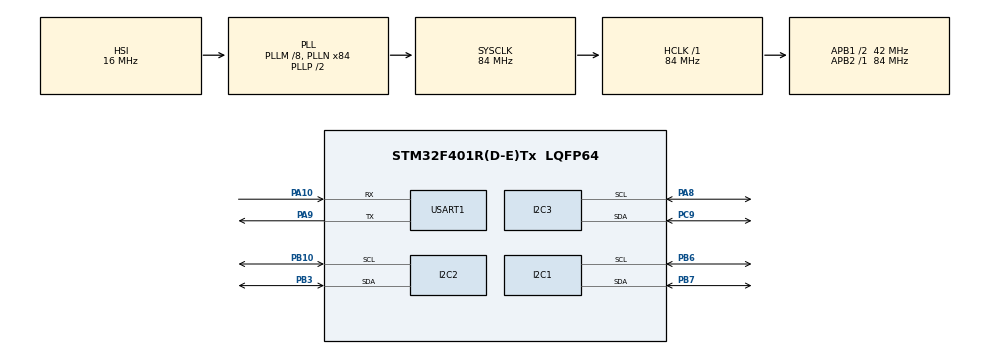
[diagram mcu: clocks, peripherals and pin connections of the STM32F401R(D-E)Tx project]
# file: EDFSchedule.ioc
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FREERTOS.Queues01=myQueue01,16,uint16_t,0,Dynamic,NULL,NULL;myQueue02,16,uint16_t,0,Dynamic,NULL,NULL;myQueue03,16,uint16_t,0,Dynamic,NULL,NULL;myQueue04,16,uint16_t,0,Dynamic,NULL,NULL
FREERTOS.Tasks01=defaultTask,29,512,StartDefaultTask,Default,NULL,Dynamic,NULL,NULL;RealTime,29,512,StartTask02,Default,NULL,Dynamic,NULL,NULL;DisplayTemp,28,512,StartTask03,Default,NULL,Dynamic,NULL,NULL;DisplayTime,27,512,StartTask04,Default,NULL,Dynamic,NULL,NULL;myTask05,26,256,StartTask05,Default,NULL,Dynamic,NULL,NULL;myTask06,25,512,StartTask06,Default,NULL,Dynamic,NULL,NULL;myTask07,8,512,StartTask07,Default,NULL,Dynamic,NULL,NULL
Mcu.Family=STM32F4
Mcu.Name=STM32F401R(D-E)Tx
Mcu.Package=LQFP64
NVIC.PriorityGroup=NVIC_PRIORITYGROUP_4
NVIC.USART1_IRQn=true\:5\:0\:false\:false\:true\:true\:true\:true\:true
PA10.Mode=Asynchronous
PA10.Signal=USART1_RX
PA13.Mode=Serial_Wire
PA13.Signal=SYS_JTMS-SWDIO
PA14.Mode=Serial_Wire
PA14.Signal=SYS_JTCK-SWCLK
PA8.Mode=I2C
PA8.Signal=I2C3_SCL
PA9.Mode=Asynchronous
PA9.Signal=USART1_TX
PB10.Mode=I2C
PB10.Signal=I2C2_SCL
PB3.Mode=I2C
PB3.Signal=I2C2_SDA
PB6.Mode=I2C
PB6.Signal=I2C1_SCL
PB7.Mode=I2C
PB7.Signal=I2C1_SDA
PC9.Mode=I2C
PC9.Signal=I2C3_SDA
PH0\ -\ OSC_IN.Mode=HSE-External-Oscillator
PH0\ -\ OSC_IN.Signal=RCC_OSC_IN
PH1\ -\ OSC_OUT.Mode=HSE-External-Oscillator
PH1\ -\ OSC_OUT.Signal=RCC_OSC_OUT
ProjectManager.HeapSize=0x200
ProjectManager.StackSize=0x400
ProjectManager.TargetToolchain=STM32CubeIDE
RCC.48MHZClocksFreq_Value=42000000
RCC.AHBFreq_Value=84000000
RCC.APB1CLKDivider=RCC_HCLK_DIV2
RCC.APB1Freq_Value=42000000
RCC.APB1TimFreq_Value=84000000
RCC.APB2Freq_Value=84000000
RCC.APB2TimFreq_Value=84000000
RCC.CortexFreq_Value=84000000
RCC.HCLKFreq_Value=84000000
RCC.HSE_VALUE=25000000
RCC.HSI_VALUE=16000000
RCC.LSE_VALUE=32768
RCC.PLLM=8
RCC.PLLN=84
RCC.SYSCLKFreq_VALUE=84000000
RCC.SYSCLKSource=RCC_SYSCLKSOURCE_PLLCLK
RCC.VCOOutputFreq_Value=168000000
USART1.VirtualMode=VM_ASYNC
VP_FREERTOS_VS_CMSIS_V2.Mode=CMSIS_V2
board=custom

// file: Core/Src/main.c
/* USER CODE BEGIN Header */
/**
  ******************************************************************************
  * @file           : main.c
  * @brief          : Main program body
  ******************************************************************************
  * @attention
  *
  * Copyright (c) 2025 STMicroelectronics.
  * All rights reserved.
  *
  * This software is licensed under terms that can be found in the LICENSE file
  * in the root directory of this software component.
  * If no LICENSE file comes with this software, it is provided AS-IS.
  *
  ******************************************************************************
  */
/* USER CODE END Header */
#include "main.h"
#include "cmsis_os.h"

/* USER CODE BEGIN Includes */
#include "stdio.h"
#include "string.h"
#include "stdlib.h"
#include "math.h"

// The libraries for sensors: DS1307, LCD, SHT21
#include "sht2x_for_stm32_hal.h"
#include "i2c-lcd.h"
#include "I2C_DS3231.h"
#include "print_cli.h"
#include "command_excute.h"
#include <stdbool.h>

/* USER CODE END Includes */

I2C_HandleTypeDef hi2c1;
I2C_HandleTypeDef hi2c2;
I2C_HandleTypeDef hi2c3;

UART_HandleTypeDef huart1;

/* Definitions for defaultTask */
osThreadId_t defaultTaskHandle;
const osThreadAttr_t defaultTask_attributes = {
  .name = "defaultTask",
  .stack_size = 512 * 4,
  .priority = (osPriority_t) osPriorityNormal5,
};
/* Definitions for RealTime */
osThreadId_t RealTimeHandle;
const osThreadAttr_t RealTime_attributes = {
  .name = "RealTime",
  .stack_size = 512 * 4,
  .priority = (osPriority_t) osPriorityNormal5,
};
/* Definitions for DisplayTemp */
osThreadId_t DisplayTempHandle;
const osThreadAttr_t DisplayTemp_attributes = {
  .name = "DisplayTemp",
  .stack_size = 512 * 4,
  .priority = (osPriority_t) osPriorityNormal4,
};
/* Definitions for DisplayTime */
osThreadId_t DisplayTimeHandle;
const osThreadAttr_t DisplayTime_attributes = {
  .name = "DisplayTime",
  .stack_size = 512 * 4,
  .priority = (osPriority_t) osPriorityNormal3,
};
/* Definitions for myTask05 */
osThreadId_t myTask05Handle;
const osThreadAttr_t myTask05_attributes = {
  .name = "myTask05",
  .stack_size = 256 * 4,
  .priority = (osPriority_t) osPriorityNormal2,
};
/* Definitions for myTask06 */
osThreadId_t myTask06Handle;
const osThreadAttr_t myTask06_attributes = {
  .name = "myTask06",
  .stack_size = 512 * 4,
  .priority = (osPriority_t) osPriorityNormal1,
};
/* Definitions for myTask07 */
osThreadId_t myTask07Handle;
const osThreadAttr_t myTask07_attributes = {
  .name = "myTask07",
  .stack_size = 512 * 4,
  .priority = (osPriority_t) osPriorityLow,
};
/* Definitions for myQueue01 */
osMessageQueueId_t myQueue01Handle;
const osMessageQueueAttr_t myQueue01_attributes = {
  .name = "myQueue01"
};
/* Definitions for myQueue02 */
osMessageQueueId_t myQueue02Handle;
const osMessageQueueAttr_t myQueue02_attributes = {
  .name = "myQueue02"
};
/* Definitions for myQueue03 */
osMessageQueueId_t myQueue03Handle;
const osMessageQueueAttr_t myQueue03_attributes = {
  .name = "myQueue03"
};
/* Definitions for myQueue04 */
osMessageQueueId_t myQueue04Handle;
const osMessageQueueAttr_t myQueue04_attributes = {
  .name = "myQueue04"
};
/* USER CODE BEGIN PV */
DateTime date_time;

// Task deadlines
TickType_t taskReadTempDeadline;
TickType_t taskReadTimeDeadline;
TickType_t taskDisplayTempDeadline;
TickType_t taskDisplayTimeDeadline;
TickType_t taskReadRhDeadline;
TickType_t taskDisplayRhDeadline;
typedef struct{
	int id;
	int period;
	int execTime;
	int deadline;
	int priotity;
	int allPeriod;
	bool changed;
} Task;

Task tasks[6] = {
        {0, 2250, 50, 100, 5, 10, 0.0, false},  // Task 1
        {1, 900, 4, 200, 11, 10, 0.0, false}, // Task 2
        {2, 3000, 4, 300, 17, 10, 0.0, false}, // Task 3
        {3, 1000, 4, 400, 23, 10, 0.0, false}, // Task 4
        {4, 1800, 50, 500, 29, 10, 0.0, false}, // Task 5
        {5, 4500, 4, 600, 35, 10, 0.0, false}  // Task 6
    };
Task prev_tasks[6] = {
        {0, 2250, 50, 100, 5, 10, 0.0, false},  // Task 1
        {1, 900, 4, 200, 11, 10, 0.0, false}, // Task 2
        {2, 3000, 4, 300, 17, 10, 0.0, false}, // Task 3
        {3, 1000, 4, 400, 23, 10, 0.0, false}, // Task 4
        {4, 1800, 50, 500, 29, 10, 0.0, false}, // Task 5
        {5, 4500, 4, 600, 35, 10, 0.0, false}  // Task 6
    };

#define MAX_STRING_SIZE 20

#define RX_BUFFER_SIZE 30
uint8_t rx_buffer[RX_BUFFER_SIZE];
char rx_byte;
uint16_t rx_index = 0;
typedef struct {
    char task[MAX_STRING_SIZE];  // Trường chứa chuỗi "task1"
    int values[5];               // Mảng chứa 5 số nguyên
} TaskData;
/* USER CODE END PV */

void SystemClock_Config(void);
static void MX_GPIO_Init(void);
static void MX_I2C1_Init(void);
static void MX_I2C2_Init(void);
static void MX_I2C3_Init(void);
static void MX_USART1_UART_Init(void);
void StartDefaultTask(void *argument);
void StartTask02(void *argument);
void StartTask03(void *argument);
void StartTask04(void *argument);
void StartTask05(void *argument);
void StartTask06(void *argument);
void StartTask07(void *argument);

/* USER CODE BEGIN PFP */
void updatePriorities(void);
void AnalyzeCommand(char *);

void parseDataFromISR(const char *Rec, int size, TaskData *taskData);
// Hàm phát hiện thay đổi
bool detectChange(Task *current, Task *previous);
void updatePrevious(Task *previous, Task *current);
/* USER CODE END PFP */

int main(void)
{

  /* MCU Configuration--------------------------------------------------------*/

  /* Reset of all peripherals, Initializes the Flash interface and the Systick. */
  HAL_Init();

  /* Configure the system clock */
  SystemClock_Config();

  /* Initialize all configured peripherals */
  MX_GPIO_Init();
  MX_I2C1_Init();
  MX_I2C2_Init();
  MX_I2C3_Init();
  MX_USART1_UART_Init();
  /* USER CODE BEGIN 2 */
  //Init SHT21, set resolution
    SHT2x_Init(&hi2c1);
    SHT2x_SetResolution(RES_14_12);
    print_cli("Inited SHT21 successfully\n");

    //Init LCD, set start time
    rtc_init(&hi2c3);
    date_time.date = 20;
    date_time.day = 20;
    date_time.hour = 10;
    date_time.i2c = 02;
    date_time.min = 41;
    date_time.mon = 1;
    date_time.sec = 12;
    date_time.year = 25;
    rtc_write_time(&date_time);

    //Init lcd
    lcd_init();
    HAL_UART_Receive_IT(&huart1, &rx_byte, 1);
  /* USER CODE END 2 */

  /* Init scheduler */
  osKernelInitialize();

  /* Create the queue(s) */
  /* creation of myQueue01 */
  myQueue01Handle = osMessageQueueNew (16, sizeof(float), &myQueue01_attributes);

  /* creation of myQueue02 */
  myQueue02Handle = osMessageQueueNew (16, sizeof(DateTime), &myQueue02_attributes);

  /* creation of myQueue03 */
  myQueue03Handle = osMessageQueueNew (16, sizeof(float), &myQueue03_attributes);

  /* creation of myQueue04 */
  myQueue04Handle = osMessageQueueNew (16, sizeof(uint8_t) * 15, &myQueue04_attributes);

  /* Create the thread(s) */
  /* creation of defaultTask */
  defaultTaskHandle = osThreadNew(StartDefaultTask, NULL, &defaultTask_attributes);

  /* creation of RealTime */
  RealTimeHandle = osThreadNew(StartTask02, NULL, &RealTime_attributes);

  /* creation of DisplayTemp */
  DisplayTempHandle = osThreadNew(StartTask03, NULL, &DisplayTemp_attributes);

  /* creation of DisplayTime */
  DisplayTimeHandle = osThreadNew(StartTask04, NULL, &DisplayTime_attributes);

  /* creation of myTask05 */
  myTask05Handle = osThreadNew(StartTask05, NULL, &myTask05_attributes);

  /* creation of myTask06 */
  myTask06Handle = osThreadNew(StartTask06, NULL, &myTask06_attributes);

  /* creation of myTask07 */
  myTask07Handle = osThreadNew(StartTask07, NULL, &myTask07_attributes);

  /* Start scheduler */
  osKernelStart();

  /* We should never get here as control is now taken by the scheduler */

  /* Infinite loop */
  while (1)
  {

  }
}

void SystemClock_Config(void)
{
  RCC_OscInitTypeDef RCC_OscInitStruct = {0};
  RCC_ClkInitTypeDef RCC_ClkInitStruct = {0};

  /** Configure the main internal regulator output voltage
  */
  __HAL_RCC_PWR_CLK_ENABLE();
  __HAL_PWR_VOLTAGESCALING_CONFIG(PWR_REGULATOR_VOLTAGE_SCALE2);

  /** Initializes the RCC Oscillators according to the specified parameters
  * in the RCC_OscInitTypeDef structure.
  */
  RCC_OscInitStruct.OscillatorType = RCC_OSCILLATORTYPE_HSI;
  RCC_OscInitStruct.HSIState = RCC_HSI_ON;
  RCC_OscInitStruct.HSICalibrationValue = RCC_HSICALIBRATION_DEFAULT;
  RCC_OscInitStruct.PLL.PLLState = RCC_PLL_ON;
  RCC_OscInitStruct.PLL.PLLSource = RCC_PLLSOURCE_HSI;
  RCC_OscInitStruct.PLL.PLLM = 8;
  RCC_OscInitStruct.PLL.PLLN = 84;
  RCC_OscInitStruct.PLL.PLLP = RCC_PLLP_DIV2;
  RCC_OscInitStruct.PLL.PLLQ = 4;
  if (HAL_RCC_OscConfig(&RCC_OscInitStruct) != HAL_OK)
  {
    Error_Handler();
  }

  /** Initializes the CPU, AHB and APB buses clocks
  */
  RCC_ClkInitStruct.ClockType = RCC_CLOCKTYPE_HCLK|RCC_CLOCKTYPE_SYSCLK
                              |RCC_CLOCKTYPE_PCLK1|RCC_CLOCKTYPE_PCLK2;
  RCC_ClkInitStruct.SYSCLKSource = RCC_SYSCLKSOURCE_PLLCLK;
  RCC_ClkInitStruct.AHBCLKDivider = RCC_SYSCLK_DIV1;
  RCC_ClkInitStruct.APB1CLKDivider = RCC_HCLK_DIV2;
  RCC_ClkInitStruct.APB2CLKDivider = RCC_HCLK_DIV1;

  if (HAL_RCC_ClockConfig(&RCC_ClkInitStruct, FLASH_LATENCY_2) != HAL_OK)
  {
    Error_Handler();
  }
}

static void MX_I2C1_Init(void)
{

  hi2c1.Instance = I2C1;
  hi2c1.Init.ClockSpeed = 100000;
  hi2c1.Init.DutyCycle = I2C_DUTYCYCLE_2;
  hi2c1.Init.OwnAddress1 = 0;
  hi2c1.Init.AddressingMode = I2C_ADDRESSINGMODE_7BIT;
  hi2c1.Init.DualAddressMode = I2C_DUALADDRESS_DISABLE;
  hi2c1.Init.OwnAddress2 = 0;
  hi2c1.Init.GeneralCallMode = I2C_GENERALCALL_DISABLE;
  hi2c1.Init.NoStretchMode = I2C_NOSTRETCH_DISABLE;
  if (HAL_I2C_Init(&hi2c1) != HAL_OK)
  {
    Error_Handler();
  }

}

static void MX_I2C2_Init(void)
{

  hi2c2.Instance = I2C2;
  hi2c2.Init.ClockSpeed = 100000;
  hi2c2.Init.DutyCycle = I2C_DUTYCYCLE_2;
  hi2c2.Init.OwnAddress1 = 0;
  hi2c2.Init.AddressingMode = I2C_ADDRESSINGMODE_7BIT;
  hi2c2.Init.DualAddressMode = I2C_DUALADDRESS_DISABLE;
  hi2c2.Init.OwnAddress2 = 0;
  hi2c2.Init.GeneralCallMode = I2C_GENERALCALL_DISABLE;
  hi2c2.Init.NoStretchMode = I2C_NOSTRETCH_DISABLE;
  if (HAL_I2C_Init(&hi2c2) != HAL_OK)
  {
    Error_Handler();
  }

}

static void MX_I2C3_Init(void)
{

  hi2c3.Instance = I2C3;
  hi2c3.Init.ClockSpeed = 100000;
  hi2c3.Init.DutyCycle = I2C_DUTYCYCLE_2;
  hi2c3.Init.OwnAddress1 = 0;
  hi2c3.Init.AddressingMode = I2C_ADDRESSINGMODE_7BIT;
  hi2c3.Init.DualAddressMode = I2C_DUALADDRESS_DISABLE;
  hi2c3.Init.OwnAddress2 = 0;
  hi2c3.Init.GeneralCallMode = I2C_GENERALCALL_DISABLE;
  hi2c3.Init.NoStretchMode = I2C_NOSTRETCH_DISABLE;
  if (HAL_I2C_Init(&hi2c3) != HAL_OK)
  {
    Error_Handler();
  }

}

static void MX_USART1_UART_Init(void)
{

  huart1.Instance = USART1;
  huart1.Init.BaudRate = 115200;
  huart1.Init.WordLength = UART_WORDLENGTH_8B;
  huart1.Init.StopBits = UART_STOPBITS_1;
  huart1.Init.Parity = UART_PARITY_NONE;
  huart1.Init.Mode = UART_MODE_TX_RX;
  huart1.Init.HwFlowCtl = UART_HWCONTROL_NONE;
  huart1.Init.OverSampling = UART_OVERSAMPLING_16;
  if (HAL_UART_Init(&huart1) != HAL_OK)
  {
    Error_Handler();
  }

}

static void MX_GPIO_Init(void)
{

  /* GPIO Ports Clock Enable */
  __HAL_RCC_GPIOH_CLK_ENABLE();
  __HAL_RCC_GPIOB_CLK_ENABLE();
  __HAL_RCC_GPIOC_CLK_ENABLE();
  __HAL_RCC_GPIOA_CLK_ENABLE();

}

/* USER CODE BEGIN 4 */
void HAL_UART_RxCpltCallback(UART_HandleTypeDef *huart) {
    if (huart->Instance == USART1) {  // Thay USART1 bằng UART của bạn
        if (rx_byte == '\n') {       // Kiểm tra ký tự LF
            rx_buffer[rx_index] = '\0'; // Kết thúc chuỗi
            rx_index = 0;            // Reset index
			osMessageQueuePut(myQueue04Handle, &rx_buffer, 0U, 0U);
        }
         else {
            if (rx_index < RX_BUFFER_SIZE - 1) {
                rx_buffer[rx_index++] = rx_byte; // Lưu byte vào buffer
            }
        }
        // Nhận tiếp byte mới
        HAL_UART_Receive_IT(&huart1, &rx_byte, 1);
    }
}
void updatePriorities(void) {
    TickType_t now = xTaskGetTickCount();

    // Calculate time remaining for each task
    TickType_t timeToDeadlineTemp = taskReadTempDeadline - now;
    TickType_t timeToDeadlineTime = taskReadTimeDeadline - now;
    TickType_t timeToDeadlineDispTemp = taskDisplayTempDeadline - now;
    TickType_t timeToDeadlineDispTime = taskDisplayTimeDeadline - now;
    TickType_t timeToDeadlineRh  = taskReadRhDeadline - now;
    TickType_t timeToDeadlineDispRh = taskDisplayRhDeadline - now;

    // Update priorities dynamically
    vTaskPrioritySet(NULL, osPriorityLow); // Default priority for the current task

    if (timeToDeadlineTemp <= timeToDeadlineTime &&
        timeToDeadlineTemp <= timeToDeadlineDispTemp &&
        timeToDeadlineTemp <= timeToDeadlineDispTime &&
		timeToDeadlineTemp <= timeToDeadlineDispRh &&
		timeToDeadlineTemp <= timeToDeadlineRh) {
        vTaskPrioritySet(defaultTaskHandle, osPriorityHigh);
        printf("Task 01 cao nhat\n");
    } else if (timeToDeadlineTime <= timeToDeadlineDispTemp &&
               timeToDeadlineTime <= timeToDeadlineDispTime &&
			   timeToDeadlineTime <= timeToDeadlineRh &&
			   timeToDeadlineTime <= timeToDeadlineDispRh) {
        vTaskPrioritySet(RealTimeHandle, osPriorityHigh);
        printf("Task 02 cao nhat\n");
    } else if (timeToDeadlineDispTemp <= timeToDeadlineDispTime &&
    		timeToDeadlineDispTemp <= timeToDeadlineDispRh &&
			timeToDeadlineDispTemp <= timeToDeadlineRh) {
        vTaskPrioritySet(DisplayTempHandle, osPriorityHigh);
        print_cli("Task 3 cao nhat\n");
    }else if(timeToDeadlineRh <= timeToDeadlineDispRh &&
    		timeToDeadlineRh <= timeToDeadlineDispTime){
    	vTaskPrioritySet(myTask05Handle, osPriorityHigh);
    	print_cli("Task 5 cao nhat\n");
    }else if(timeToDeadlineDispRh <= timeToDeadlineDispTime){
    	vTaskPrioritySet(myTask06Handle, osPriorityHigh);
    	print_cli("Task 6 cao nhat\n");
    }else {
        vTaskPrioritySet(DisplayTimeHandle, osPriorityHigh);
        print_cli("Task 4 cao nhat\n");

    }
}
void updatePrevious(Task *previous, Task *current) {
    previous->period = current->period;
    previous->execTime = current->execTime;
    previous->deadline = current->deadline;
    previous->allPeriod = current->allPeriod;
    previous->priotity = current->priotity;
}
bool detectChange(Task *current, Task *previous){
    // So sánh từng trường
    if (current->period != previous->period ||
        current->execTime != previous->execTime ||
        current->deadline != previous->deadline ||
        current->priotity != previous->priotity ||
		current->allPeriod != previous->allPeriod) {
        current->changed = true; // Đánh dấu thay đổi
        return true;             // Có thay đổi
    }
    current->changed = false;    // Không có thay đổi
    return false;
}
/* USER CODE END 4 */

void StartDefaultTask(void *argument)
{
  /* USER CODE BEGIN 5 */
	TickType_t lastWakeTime = osKernelGetTickCount();
	taskReadTempDeadline = lastWakeTime + pdMS_TO_TICKS(tasks[0].deadline);

	float temp;
	float timeInSeconds;
  /* Infinite loop */
  for(;;)
  {
	  timeInSeconds = (float)osKernelGetTickCount() / configTICK_RATE_HZ;
	  print_cli("The start time of get temperature task: %.3f\n", timeInSeconds);
	  temp = SHT2x_GetTemperature(1);

	  //Check Deadline
	  if (osKernelGetTickCount() > taskReadTempDeadline)
	  {
		  print_cli("Task Read Temperature missed deadline\n");
	  }
	  if (detectChange(&tasks[0], &prev_tasks[0]))
		{
		  if(tasks[0].deadline != prev_tasks[0].deadline)
			{
				taskReadTempDeadline += pdMS_TO_TICKS(tasks[0].period)
						- pdMS_TO_TICKS(prev_tasks[0].deadline) + pdMS_TO_TICKS(tasks[0].deadline);
				print_cli("TASK 01 THAY DOI DEADLINE\n");
			}
			updatePrevious(&prev_tasks[0], &tasks[0]);
		 }else
		 {
			 taskReadTempDeadline += pdMS_TO_TICKS(tasks[0].period);
		 }
	  timeInSeconds = (float)osKernelGetTickCount() / configTICK_RATE_HZ;
	  print_cli("The end time of get temperature task: %.3f\n", timeInSeconds);
	  osMessageQueuePut(myQueue01Handle, &temp, 0U, 0U);
	  updatePriorities();
	  vTaskDelayUntil(&lastWakeTime, pdMS_TO_TICKS(tasks[0].period));
  }
  /* USER CODE END 5 */
}

void StartTask02(void *argument)
{
  /* USER CODE BEGIN StartTask02 */
	DateTime dateTimeSend;
	TickType_t lastWakeTime = osKernelGetTickCount();
	taskReadTimeDeadline = lastWakeTime + pdMS_TO_TICKS(tasks[1].deadline);
	float timeInSeconds;
  /* Infinite loop */
  for(;;)
  {
	timeInSeconds = (float)osKernelGetTickCount() / configTICK_RATE_HZ;
	print_cli("The start time of get real time task: %.3f\n", timeInSeconds);
	rtc_read_time(&dateTimeSend);

	//Check Deadline
	if (osKernelGetTickCount() > taskReadTimeDeadline)
	{
		print_cli("Task Read Time missed deadline\n");
	}
	if (detectChange(&tasks[1], &prev_tasks[1]))
	{
		if(tasks[0].deadline != prev_tasks[0].deadline)
		{
			taskReadTempDeadline += pdMS_TO_TICKS(tasks[0].period)
					- pdMS_TO_TICKS(prev_tasks[0].deadline) + pdMS_TO_TICKS(tasks[0].deadline);
			print_cli("TASK 02 THAY DOI DEADLINE\n");
		}
		updatePrevious(&prev_tasks[1], &tasks[1]);
	 }
	else
		 {
			 taskReadTimeDeadline += pdMS_TO_TICKS(tasks[1].period);
		 }
	timeInSeconds = (float)osKernelGetTickCount() / configTICK_RATE_HZ;
	print_cli("The end time of get real time task: %.3f\n", timeInSeconds);

	osMessageQueuePut(myQueue02Handle, &dateTimeSend, 0U, 0U);
	updatePriorities();
	vTaskDelayUntil(&lastWakeTime, pdMS_TO_TICKS(tasks[1].period));
  }
  /* USER CODE END StartTask02 */
}

void StartTask03(void *argument)
{
  /* USER CODE BEGIN StartTask03 */
	TickType_t lastWakeTime = osKernelGetTickCount();
	taskDisplayTempDeadline = lastWakeTime + pdMS_TO_TICKS(tasks[2].deadline);
	float tempRecv;
	char temStr[6];
	float timeInSeconds;
  /* Infinite loop */
  for(;;)
  {
	  osMessageQueueGet(myQueue01Handle, &tempRecv, NULL, osWaitForever);
	  timeInSeconds = (float)osKernelGetTickCount() / configTICK_RATE_HZ;
	  print_cli("The start time of display temperature over UART, LCD: %.3f\n", timeInSeconds);
	  sprintf(temStr, "T:%.3f", tempRecv);
	  lcd_put_cur(0, 9);
	  lcd_send_string(&temStr);
	  print_cli("Temperature is: %.2f\n", tempRecv);
	  // Check deadline
		if (xTaskGetTickCount() > taskDisplayTempDeadline) {
			print_cli("Task Display Temperature missed deadline\n");
		}
		if (detectChange(&tasks[2], &prev_tasks[2]))
		{
			if(tasks[2].deadline != prev_tasks[2].deadline)
			{
				taskDisplayTempDeadline += pdMS_TO_TICKS(tasks[2].period)
									- pdMS_TO_TICKS(prev_tasks[2].deadline) + pdMS_TO_TICKS(tasks[2].deadline);
				print_cli("TASK 3 THAY DOI DEADLINE\n");
			}
			updatePrevious(&prev_tasks[2], &tasks[2]);
		 }else
		 {
			 taskDisplayTempDeadline += pdMS_TO_TICKS(tasks[2].period);
		 }
		timeInSeconds = (float)osKernelGetTickCount() / configTICK_RATE_HZ;
		print_cli("The end time of display temperature over UART, LCD: %.3f\n", timeInSeconds);
		updatePriorities();
		// Delay until next period
		vTaskDelayUntil(&lastWakeTime, pdMS_TO_TICKS(tasks[2].period));
  }
  /* USER CODE END StartTask03 */
}

void StartTask04(void *argument)
{
  /* USER CODE BEGIN StartTask04 */
	TickType_t lastWakeTime = osKernelGetTickCount();
	taskDisplayTimeDeadline = lastWakeTime + pdMS_TO_TICKS(tasks[3].deadline);
	DateTime dateTimeRecv;
	char timeStrTime[9];
	char timeStrDay[10];
	float timeInSeconds;
  /* Infinite loop */
  for(;;)
  {
	  osMessageQueueGet(myQueue02Handle, &dateTimeRecv, NULL, osWaitForever);
	  timeInSeconds = (float)osKernelGetTickCount() / configTICK_RATE_HZ;
	  print_cli("The start time of display real time over UART, LCD: %.3f\n", timeInSeconds);
	  sprintf(timeStrTime, "%02d:%02d:%02d", dateTimeRecv.hour, dateTimeRecv.min, dateTimeRecv.sec);
	  sprintf(timeStrDay, "%02d/%02d/20%02d", dateTimeRecv.date, dateTimeRecv.mon, dateTimeRecv.year);
	  lcd_put_cur(0, 0);
	  lcd_send_string(&timeStrTime);
	  print_cli("Current time: %s \nDay: %s\n", timeStrTime, timeStrDay);
	  lcd_put_cur(1, 0);
	  lcd_send_string(&timeStrDay);
	  // Check deadline
	  	if (xTaskGetTickCount() > taskDisplayTimeDeadline) {
	  		print_cli("Task Display Time missed deadline\n");
	  	}
	  	if (detectChange(&tasks[3], &prev_tasks[3]))
		{
	  		if(tasks[3].deadline != prev_tasks[3].deadline)
			{
				taskDisplayTimeDeadline += pdMS_TO_TICKS(tasks[3].period)
								- pdMS_TO_TICKS(prev_tasks[3].deadline) + pdMS_TO_TICKS(tasks[3].deadline);
				print_cli("TASK 4 THAY DOI DEADLINE\n");
			}
			updatePrevious(&prev_tasks[3], &tasks[3]);
		 }else
		 {
			 taskDisplayTimeDeadline += pdMS_TO_TICKS(tasks[3].period);
		 }
	  	timeInSeconds = (float)osKernelGetTickCount() / configTICK_RATE_HZ;
	  	print_cli("The end time of display real time over UART, LCD: %.3f\n", timeInSeconds);
	  	updatePriorities();
	  	// Delay until next period
	  	vTaskDelayUntil(&lastWakeTime, pdMS_TO_TICKS(tasks[3].period));
	  	// Check deadline
  }
  /* USER CODE END StartTask04 */
}

void StartTask05(void *argument)
{
  /* USER CODE BEGIN StartTask05 */
	float rh;
	TickType_t lastWakeTime = osKernelGetTickCount();
	taskReadRhDeadline = lastWakeTime + pdMS_TO_TICKS(tasks[4].deadline);
	//updatePriorities();
	float timeInSeconds;
  /* Infinite loop */
  for(;;)
  {
	  timeInSeconds = (float)osKernelGetTickCount() / configTICK_RATE_HZ;
	  print_cli("The start time of get rh task: %.3f\n", timeInSeconds);
	  rh = SHT2x_GetRelativeHumidity(1);
	  if (osKernelGetTickCount() > taskReadRhDeadline)
		  {
			  print_cli("Task Read Temperature missed deadline\n");
		  }
	 if (detectChange(&tasks[4], &prev_tasks[4]))
	{
		  if(tasks[4].deadline != prev_tasks[4].deadline)
		  {
			  taskReadRhDeadline += pdMS_TO_TICKS(tasks[4].period)
							- pdMS_TO_TICKS(prev_tasks[4].deadline) + pdMS_TO_TICKS(tasks[4].deadline);
			  print_cli("TASK 05 THAY DOI DEADLINE\n");
		  }
		updatePrevious(&prev_tasks[4], &tasks[4]);
	 }else
	 {
		 taskReadRhDeadline += pdMS_TO_TICKS(tasks[4].period);
	 }
	  taskReadRhDeadline += pdMS_TO_TICKS(tasks[4].period);
	  timeInSeconds = (float)osKernelGetTickCount() / configTICK_RATE_HZ;
	  print_cli("The end time of get rh task: %.3f\n", timeInSeconds);
	  osMessageQueuePut(myQueue03Handle, &rh, 0U, 0U);
	  updatePriorities();
	  vTaskDelayUntil(&lastWakeTime, pdMS_TO_TICKS(tasks[4].period));
  }
  /* USER CODE END StartTask05 */
}

void StartTask06(void *argument)
{
  /* USER CODE BEGIN StartTask06 */
	TickType_t lastWakeTime = osKernelGetTickCount();
	taskDisplayRhDeadline = lastWakeTime + pdMS_TO_TICKS(tasks[5].deadline);
	float rhRecv;
	char rhStr[6];
	//updatePriorities();
	float timeInSeconds;
  /* Infinite loop */
  for(;;)
  {
  osMessageQueueGet(myQueue03Handle, &rhRecv, NULL, osWaitForever);
  timeInSeconds = (float)osKernelGetTickCount() / configTICK_RATE_HZ;
  print_cli("The start time of display rh over UART, LCD: %.3f\n", timeInSeconds);
  sprintf(rhStr, "r:%.1f", rhRecv);
  lcd_put_cur(1, 10);
  lcd_send_string(&rhStr);
  print_cli("DO AM LA %s\n", rhStr);
  // Check deadline
	if (xTaskGetTickCount() > taskDisplayRhDeadline) {
		print_cli("Task Display Temperature missed deadline\n");
	}
	if (detectChange(&tasks[5], &prev_tasks[5]))
	{
	if(tasks[5].deadline != prev_tasks[5].deadline)
	  {
		  taskDisplayRhDeadline += pdMS_TO_TICKS(tasks[5].period)
						- pdMS_TO_TICKS(prev_tasks[5].deadline) + pdMS_TO_TICKS(tasks[5].deadline);
		  print_cli("TASK 06 THAY DOI DEADLINE\n");
	  }
	updatePrevious(&prev_tasks[5], &tasks[5]);
	 }else
	 {
	taskDisplayRhDeadline += pdMS_TO_TICKS(tasks[5].period);
	 }
	timeInSeconds = (float)osKernelGetTickCount() / configTICK_RATE_HZ;
	print_cli("The end time of display rh over UART, LCD: %.3f\n", timeInSeconds);
	updatePriorities();
	// Delay until next period
	vTaskDelayUntil(&lastWakeTime, pdMS_TO_TICKS(tasks[5].period));
  }
  /* USER CODE END StartTask06 */
}

void StartTask07(void *argument)
{
  /* USER CODE BEGIN StartTask07 */
	uint8_t Recv_ISR[20];
	TaskData taskData;
	int size;
	char m;
	int fieldRecv[12] = {0};
	int field[6] = {0};
	int idx;
  /* Infinite loop */
  for(;;)
  {
	osMessageQueueGet(myQueue04Handle, &Recv_ISR, NULL, osWaitForever);
	print_cli("Nhan tu ngat yeu cau thay doi thong so lap lich\n");
	// Chuyển đổi ký tự ASCII sang số nguyên
		    for (int i = 0; i < 12; i++) {
		        fieldRecv[i] = Recv_ISR[i] - '0'; // Trừ '0' để chuyển ký tự sang số
		    }
		    // Ghép các cặp số thành số có 2 chữ số
		    for (int j = 0; j < 6; j++) {
		        field[j] = fieldRecv[2 * j] * 10 + fieldRecv[2 * j + 1]; // Ghép số
		    }
		idx = field[0];
		print_cli("TASK %d\n", field[0] + 1);
		print_cli("Period is %d\n", field[1]);
		print_cli("EXECUTION TIME is %d\n", field[2]);
		print_cli("DEADLINE is %d\n", field[3]);
		print_cli("AllPERIOD is %d\n", field[4]);
		print_cli("PRIORITY is %d\n", field[5]);
//print_cli("Thay doi thong so Task %d\n", i+1);
	if(field[1] != 0 && tasks[idx].period != field[1] *100)
	{
		tasks[idx].period = field[1] * 100;
		print_cli("TASK %d THAY DOI CHU KY\n", idx + 1);
	}
	if(field[2] != 0)
	{
		//print_cli("Thay doi thoi gian thuc thi\n");
	}
	if(field[3] != 0 && tasks[idx].deadline != field[3] * 100)
	{
		tasks[idx].deadline = field[3] * 100;
	}
	if(field[4] != 0 && tasks[idx].allPeriod != field[4] * 100)
	{
		print_cli("Thay doi chu ky toan bo\n");
		for (int i = 0; i <= 5; i++)
			tasks[i].allPeriod = field[4] * 100;
	}if(field[5] != 0 && field[5] != tasks[idx].priotity)
	{
		print_cli("Muc uu tien phu thuoc vao deadline\n");
		tasks[idx].priotity = field[5];
	}
	for (int i = 0; i <= 5; i++)
			field[i] = 0;
		for (int i = 0; i <= 11; i++)
			fieldRecv[i] = 0;
	    osThreadYield();
  }
  /* USER CODE END StartTask07 */
}

void Error_Handler(void)
{
  __disable_irq();
  while (1)
  {
  }
}
